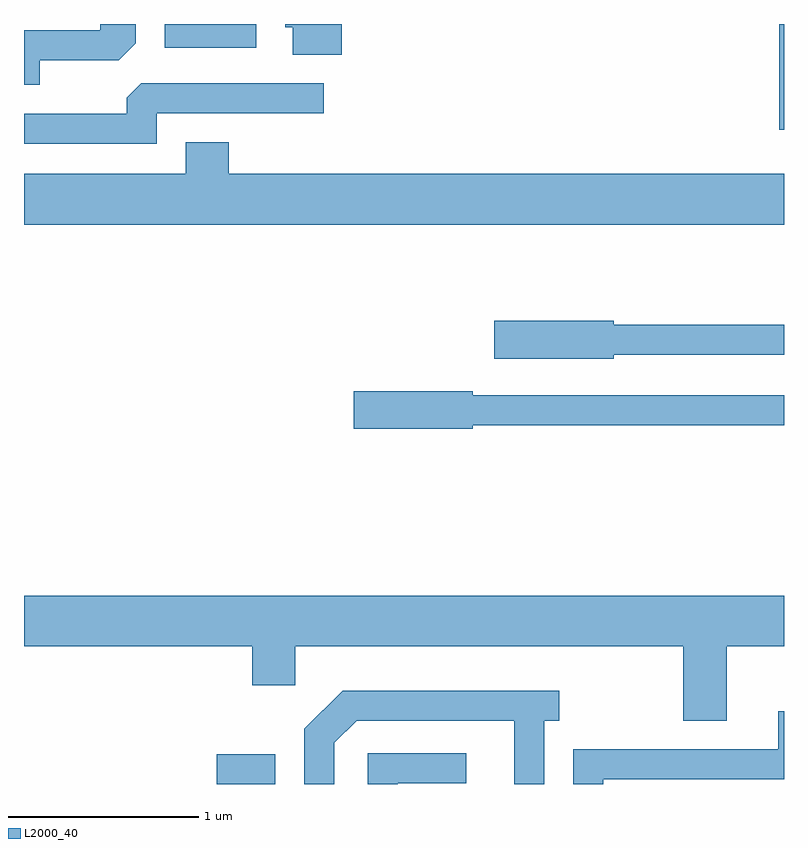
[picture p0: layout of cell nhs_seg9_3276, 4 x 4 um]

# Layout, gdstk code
import gdstk
lib = gdstk.Library(unit=1e-6, precision=1e-09)
def R(c, l, rs):  # rectangles x0, y0, x1, y1
    for r in rs: c.add(gdstk.rectangle(r[:2], r[2:], *l))
def P(c, l, *ps):  # polygons
    for p in ps: c.add(gdstk.Polygon(p, *l))
L2000_40 = (2000, 40)

nhs_seg9_3276 = lib.new_cell('nhs_seg9_3276')
R(nhs_seg9_3276, L2000_40, [(282.626,1984.432,282.934,1984.589), (285.586,1987.876,285.611,1988.432), (282.351,1988.306,282.834,1988.432)])
P(nhs_seg9_3276, L2000_40, [(283.284,1988.432),(282.986,1988.432),(282.986,1988.416),(283.026,1988.416),(283.026,1988.271),(283.284,1988.271)],
  [(281.694,1988.241),(282.109,1988.241),(282.199,1988.332),(282.199,1988.432),(282.011,1988.432),(282.011,1988.399),(281.611,1988.399),(281.611,1988.111),(281.694,1988.111)],
  [(282.309,1987.961),(283.188,1987.961),(283.188,1988.119),(282.227,1988.119),(282.151,1988.044),(282.151,1987.959),(281.611,1987.959),(281.611,1987.801),(282.309,1987.801)],
  [(285.611,1987.644),(282.689,1987.644),(282.689,1987.809),(282.461,1987.809),(282.461,1987.644),(281.611,1987.644),(281.611,1987.376),(285.611,1987.376)],
  [(284.714,1986.691),(285.611,1986.691),(285.611,1986.849),(284.714,1986.849),(284.714,1986.869),(284.086,1986.869),(284.086,1986.671),(284.714,1986.671)],
  [(283.974,1986.321),(285.611,1986.321),(285.611,1986.479),(283.974,1986.479),(283.974,1986.499),(283.346,1986.499),(283.346,1986.301),(283.974,1986.301)],
  [(285.309,1985.156),(285.611,1985.156),(285.611,1985.424),(281.611,1985.424),(281.611,1985.156),(282.811,1985.156),(282.811,1984.951),(283.039,1984.951),(283.039,1985.156),(285.081,1985.156),(285.081,1984.766),(285.309,1984.766)],
  [(283.244,1984.649),(283.362,1984.766),(284.191,1984.766),(284.191,1984.432),(284.349,1984.432),(284.349,1984.766),(284.428,1984.766),(284.428,1984.924),(283.289,1984.924),(283.086,1984.722),(283.086,1984.432),(283.244,1984.432)],
  [(284.659,1984.456),(285.611,1984.456),(285.611,1984.814),(285.581,1984.814),(285.581,1984.614),(284.501,1984.614),(284.501,1984.432),(284.659,1984.432)],
  [(283.579,1984.436),(283.938,1984.436),(283.938,1984.594),(283.421,1984.594),(283.421,1984.432),(283.579,1984.432)])

lib.write_gds('nhs_seg9_3276.gds')
